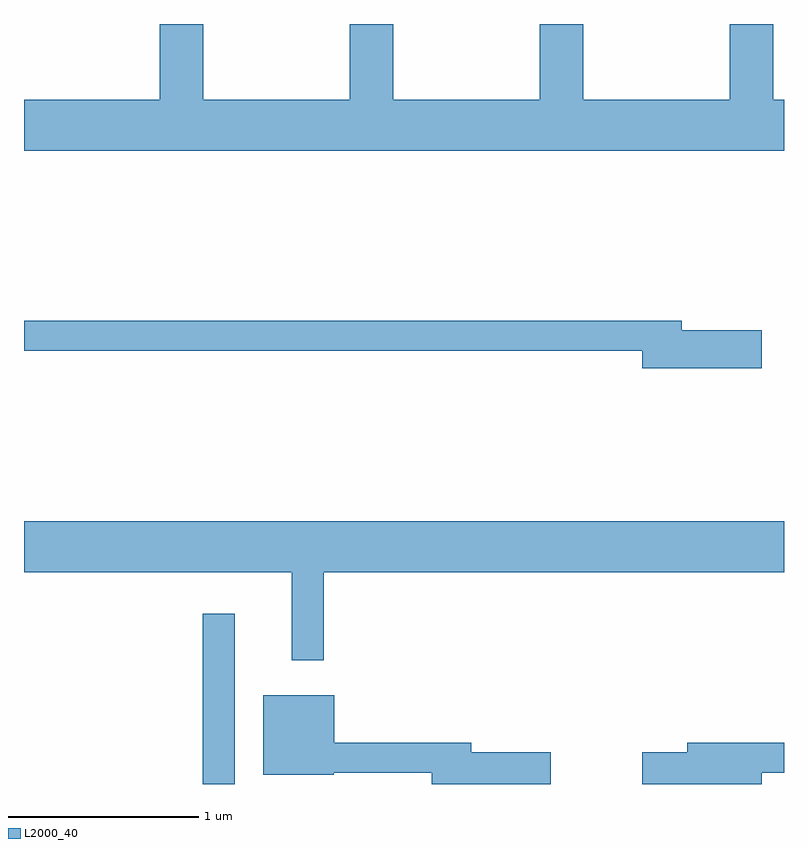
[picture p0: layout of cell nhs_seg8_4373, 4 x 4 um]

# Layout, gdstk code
import gdstk
lib = gdstk.Library(unit=1e-6, precision=1e-09)
def R(c, l, rs):  # rectangles x0, y0, x1, y1
    for r in rs: c.add(gdstk.rectangle(r[:2], r[2:], *l))
def P(c, l, *ps):  # polygons
    for p in ps: c.add(gdstk.Polygon(p, *l))
L2000_40 = (2000, 40)

nhs_seg8_4373 = lib.new_cell('nhs_seg8_4373')
R(nhs_seg8_4373, L2000_40, [(316.551,1906.342,316.719,1907.238)])
P(nhs_seg8_4373, L2000_40, [(319.611,1909.944),(319.554,1909.944),(319.554,1910.342),(319.326,1910.342),(319.326,1909.944),(318.554,1909.944),(318.554,1910.342),(318.326,1910.342),(318.326,1909.944),(317.554,1909.944),(317.554,1910.342),(317.326,1910.342),(317.326,1909.944),(316.554,1909.944),(316.554,1910.342),(316.326,1910.342),(316.326,1909.944),(315.611,1909.944),(315.611,1909.676),(319.611,1909.676)],
  [(319.494,1908.729),(319.074,1908.729),(319.074,1908.779),(315.611,1908.779),(315.611,1908.621),(318.866,1908.621),(318.866,1908.531),(319.494,1908.531)],
  [(317.189,1907.456),(319.611,1907.456),(319.611,1907.724),(315.611,1907.724),(315.611,1907.456),(317.021,1907.456),(317.021,1906.993),(317.189,1906.993)],
  [(318.384,1906.509),(317.964,1906.509),(317.964,1906.559),(317.244,1906.559),(317.244,1906.809),(316.871,1906.809),(316.871,1906.391),(317.24,1906.391),(317.24,1906.401),(317.756,1906.401),(317.756,1906.342),(318.384,1906.342)],
  [(319.494,1906.401),(319.611,1906.401),(319.611,1906.559),(319.101,1906.559),(319.101,1906.509),(318.866,1906.509),(318.866,1906.342),(319.494,1906.342)])

lib.write_gds('nhs_seg8_4373.gds')
